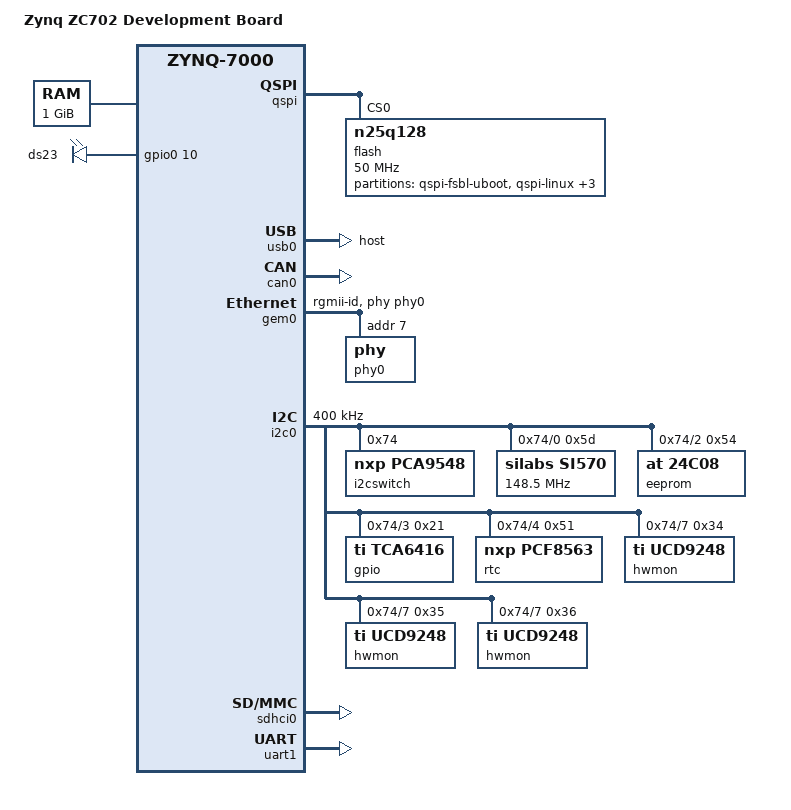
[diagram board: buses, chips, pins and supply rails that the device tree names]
/*
 *  Copyright (C) 2011 - 2014 Xilinx
 *  Copyright (C) 2012 National Instruments Corp.
 *
 * This software is licensed under the terms of the GNU General Public
 * License version 2, as published by the Free Software Foundation, and
 * may be copied, distributed, and modified under those terms.
 *
 * This program is distributed in the hope that it will be useful,
 * but WITHOUT ANY WARRANTY; without even the implied warranty of
 * MERCHANTABILITY or FITNESS FOR A PARTICULAR PURPOSE.  See the
 * GNU General Public License for more details.
 */
/dts-v1/;
/include/ "zynq-7000.dtsi"

/ {
	model = "Zynq ZC702 Development Board";
	compatible = "xlnx,zynq-zc702", "xlnx,zynq-7000";

	aliases {
		ethernet0 = &gem0;
		i2c0 = &i2c0;
		serial0 = &uart1;
		spi0 = &qspi;
	};

	memory {
		device_type = "memory";
		reg = <0x0 0x40000000>;
	};

	chosen {
		bootargs = "console=ttyPS0,115200 root=/dev/ram rw earlyprintk";
		linux,stdout-path = "/amba/serial@e0001000";
	};

	leds {
		compatible = "gpio-leds";

		ds23 {
			label = "ds23";
			gpios = <&gpio0 10 0>;
			linux,default-trigger = "heartbeat";
		};
	};
};

&qspi {
	status = "okay";
	is-dual = <0>;
	num-cs = <1>;
	xlnx,fb-clk = <0x1>;
	xlnx,qspi-mode = <0x0>;
	flash@0 {
		compatible = "n25q128";
		reg = <0x0>;
		spi-tx-bus-width = <1>;
		spi-rx-bus-width = <4>;
		spi-max-frequency = <50000000>;
		#address-cells = <1>;
		#size-cells = <1>;
		partition@qspi-fsbl-uboot {
			label = "qspi-fsbl-uboot";
			reg = <0x0 0x100000>;
		};
		partition@qspi-linux {
			label = "qspi-linux";
			reg = <0x100000 0x500000>;
		};
		partition@qspi-device-tree {
			label = "qspi-device-tree";
			reg = <0x600000 0x20000>;
		};
		partition@qspi-rootfs {
			label = "qspi-rootfs";
			reg = <0x620000 0x5E0000>;
		};
		partition@qspi-bitstream {
			label = "qspi-bitstream";
			reg = <0xC00000 0x400000>;
		};
	};
};

&usb0 {
	status = "okay";
	dr_mode = "host";
	phy_type = "ulpi";
	usb-reset = <&gpio0 7 0>;
};

&can0 {
	status = "okay";
};

&gem0 {
	status = "okay";
	phy-mode = "rgmii-id";
	phy-handle = <&phy0>;

	phy0: phy@7 {
		reg = <7>;
	};
};

&i2c0 {
	status = "okay";
	clock-frequency = <400000>;

	i2cswitch@74 {
		compatible = "nxp,pca9548";
		#address-cells = <1>;
		#size-cells = <0>;
		reg = <0x74>;

		i2c@0 {
			#address-cells = <1>;
			#size-cells = <0>;
			reg = <0>;
			si570: clock-generator@5d {
				#clock-cells = <0>;
				compatible = "silabs,si570";
				temperature-stability = <50>;
				reg = <0x5d>;
				factory-fout = <156250000>;
				clock-frequency = <148500000>;
			};
		};

		i2c@2 {
			#address-cells = <1>;
			#size-cells = <0>;
			reg = <2>;
			eeprom@54 {
				compatible = "at,24c08";
				reg = <0x54>;
			};
		};

		i2c@3 {
			#address-cells = <1>;
			#size-cells = <0>;
			reg = <3>;
			gpio@21 {
				compatible = "ti,tca6416";
				reg = <0x21>;
				gpio-controller;
				#gpio-cells = <2>;
			};
		};

		i2c@4 {
			#address-cells = <1>;
			#size-cells = <0>;
			reg = <4>;
			rtc@51 {
				compatible = "nxp,pcf8563";
				reg = <0x51>;
			};
		};

		i2c@7 {
			#address-cells = <1>;
			#size-cells = <0>;
			reg = <7>;
			hwmon@52 {
				compatible = "ti,ucd9248";
				reg = <52>;
			};
			hwmon@53 {
				compatible = "ti,ucd9248";
				reg = <53>;
			};
			hwmon@54 {
				compatible = "ti,ucd9248";
				reg = <54>;
			};
		};
	};
};

&sdhci0 {
	status = "okay";
};

&uart1 {
	status = "okay";
};
